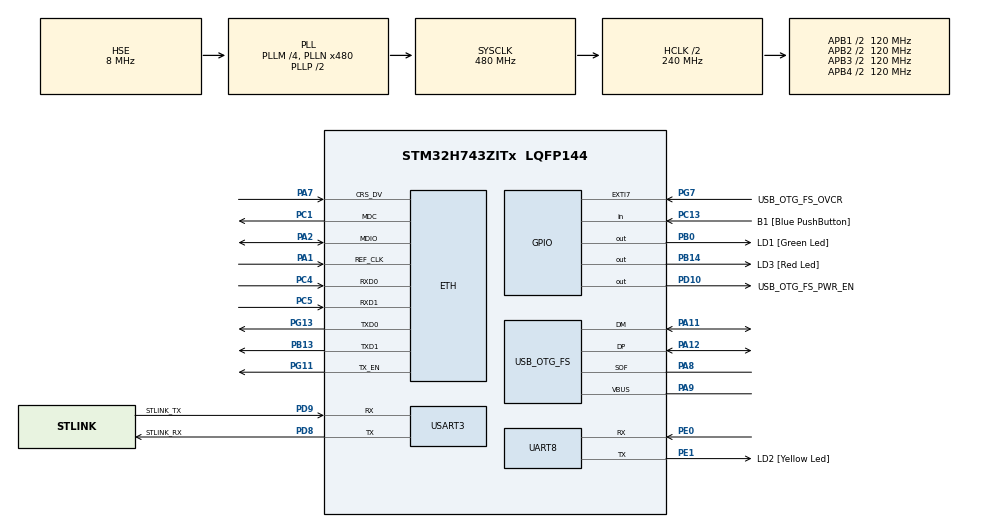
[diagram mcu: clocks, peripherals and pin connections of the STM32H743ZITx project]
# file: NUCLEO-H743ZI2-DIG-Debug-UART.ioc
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CORTEX_M7.CPU_DCache=Enabled
CORTEX_M7.CPU_ICache=Enabled
CORTEX_M7.default_mode_Activation=1
Dma.Request0=USART3_TX
Dma.Request1=UART8_TX
Dma.UART8_TX.1.Direction=DMA_MEMORY_TO_PERIPH
Dma.UART8_TX.1.EventEnable=DISABLE
Dma.UART8_TX.1.FIFOMode=DMA_FIFOMODE_DISABLE
Dma.UART8_TX.1.Instance=DMA1_Stream6
Dma.UART8_TX.1.MemDataAlignment=DMA_MDATAALIGN_BYTE
Dma.UART8_TX.1.MemInc=DMA_MINC_ENABLE
Dma.UART8_TX.1.Mode=DMA_NORMAL
Dma.UART8_TX.1.PeriphDataAlignment=DMA_PDATAALIGN_BYTE
Dma.UART8_TX.1.PeriphInc=DMA_PINC_DISABLE
Dma.UART8_TX.1.Polarity=HAL_DMAMUX_REQ_GEN_RISING
Dma.UART8_TX.1.Priority=DMA_PRIORITY_LOW
Dma.UART8_TX.1.RequestNumber=1
Dma.UART8_TX.1.SignalID=NONE
Dma.UART8_TX.1.SyncEnable=DISABLE
Dma.UART8_TX.1.SyncPolarity=HAL_DMAMUX_SYNC_NO_EVENT
Dma.UART8_TX.1.SyncRequestNumber=1
Dma.UART8_TX.1.SyncSignalID=NONE
Dma.USART3_TX.0.Direction=DMA_MEMORY_TO_PERIPH
Dma.USART3_TX.0.EventEnable=DISABLE
Dma.USART3_TX.0.FIFOMode=DMA_FIFOMODE_DISABLE
Dma.USART3_TX.0.Instance=DMA1_Stream7
Dma.USART3_TX.0.MemDataAlignment=DMA_MDATAALIGN_BYTE
Dma.USART3_TX.0.MemInc=DMA_MINC_ENABLE
Dma.USART3_TX.0.Mode=DMA_NORMAL
Dma.USART3_TX.0.PeriphDataAlignment=DMA_PDATAALIGN_BYTE
Dma.USART3_TX.0.PeriphInc=DMA_PINC_DISABLE
Dma.USART3_TX.0.Polarity=HAL_DMAMUX_REQ_GEN_RISING
Dma.USART3_TX.0.Priority=DMA_PRIORITY_LOW
Dma.USART3_TX.0.RequestNumber=1
Dma.USART3_TX.0.SignalID=NONE
Dma.USART3_TX.0.SyncEnable=DISABLE
Dma.USART3_TX.0.SyncPolarity=HAL_DMAMUX_SYNC_NO_EVENT
Dma.USART3_TX.0.SyncRequestNumber=1
Dma.USART3_TX.0.SyncSignalID=NONE
ETH.MediaInterface=HAL_ETH_RMII_MODE
FREERTOS.Tasks01=defaultTask,24,512,StartDefaultTask,Default,NULL,Dynamic,NULL,NULL
FREERTOS.configMINIMAL_STACK_SIZE=512
FREERTOS.configTOTAL_HEAP_SIZE=32768
FREERTOS.configUSE_NEWLIB_REENTRANT=1
Mcu.Family=STM32H7
Mcu.Name=STM32H743ZITx
Mcu.Package=LQFP144
NVIC.DMA1_Stream6_IRQn=true\:5\:0\:false\:false\:true\:true\:false\:true\:true
NVIC.DMA1_Stream7_IRQn=true\:5\:0\:false\:false\:true\:true\:false\:true\:true
NVIC.PriorityGroup=NVIC_PRIORITYGROUP_4
NVIC.TIM7_IRQn=true\:15\:0\:false\:false\:true\:false\:false\:true\:true
NVIC.TimeBase=TIM7_IRQn
NVIC.TimeBaseIP=TIM7
NVIC.USART3_IRQn=true\:5\:0\:false\:false\:true\:true\:true\:true\:true
PA1.Mode=RMII
PA1.Signal=ETH_REF_CLK
PA11.Mode=Device_Only
PA11.Signal=USB_OTG_FS_DM
PA12.Mode=Device_Only
PA12.Signal=USB_OTG_FS_DP
PA13\ (JTMS/SWDIO).GPIO_Label=JTMS
PA13\ (JTMS/SWDIO).Mode=Serial_Wire
PA13\ (JTMS/SWDIO).Signal=DEBUG_JTMS-SWDIO
PA14\ (JTCK/SWCLK).GPIO_Label=JTCK
PA14\ (JTCK/SWCLK).Mode=Serial_Wire
PA14\ (JTCK/SWCLK).Signal=DEBUG_JTCK-SWCLK
PA2.Mode=RMII
PA2.Signal=ETH_MDIO
PA7.Mode=RMII
PA7.Signal=ETH_CRS_DV
PA8.Mode=Activate_SOF_FS
PA8.Signal=USB_OTG_FS_SOF
PA9.Mode=Activate_VBUS
PA9.Signal=USB_OTG_FS_VBUS
PB0.GPIO_Label=LD1 [Green Led]
PB0.Signal=GPIO_Output
PB13.Mode=RMII
PB13.Signal=ETH_TXD1
PB14.GPIO_Label=LD3 [Red Led]
PB14.Signal=GPIO_Output
PC1.Mode=RMII
PC1.Signal=ETH_MDC
PC13.GPIO_Label=B1 [Blue PushButton]
PC13.Signal=GPIO_Input
PC14-OSC32_IN\ (OSC32_IN).Mode=LSE-External-Oscillator
PC14-OSC32_IN\ (OSC32_IN).Signal=RCC_OSC32_IN
PC15-OSC32_OUT\ (OSC32_OUT).Mode=LSE-External-Oscillator
PC15-OSC32_OUT\ (OSC32_OUT).Signal=RCC_OSC32_OUT
PC4.Mode=RMII
PC4.Signal=ETH_RXD0
PC5.Mode=RMII
PC5.Signal=ETH_RXD1
PD10.GPIO_Label=USB_OTG_FS_PWR_EN
PD10.Signal=GPIO_Output
PD8.GPIO_Label=STLINK_RX
PD8.Mode=Asynchronous
PD8.Signal=USART3_TX
PD9.GPIO_Label=STLINK_TX
PD9.Mode=Asynchronous
PD9.Signal=USART3_RX
PE0.Mode=Asynchronous
PE0.Signal=UART8_RX
PE1.GPIO_Label=LD2 [Yellow Led]
PE1.Signal=SharedStack_PE1
PE1.Stacked=true
PG11.Mode=RMII
PG11.Signal=ETH_TX_EN
PG13.Mode=RMII
PG13.Signal=ETH_TXD0
PG7.GPIO_Label=USB_OTG_FS_OVCR
PG7.Signal=GPXTI7
PH0-OSC_IN\ (PH0).Mode=HSE-External-Clock-Source
PH0-OSC_IN\ (PH0).Signal=RCC_OSC_IN
PH1-OSC_OUT\ (PH1).Signal=RCC_OSC_OUT
ProjectManager.HeapSize=0x200
ProjectManager.StackSize=0x400
ProjectManager.TargetToolchain=STM32CubeIDE
RCC.ADCFreq_Value=240000000
RCC.APB1Freq_Value=120000000
RCC.APB2Freq_Value=120000000
RCC.APB3Freq_Value=120000000
RCC.APB4Freq_Value=120000000
RCC.CortexFreq_Value=480000000
RCC.D1PPRE=RCC_APB3_DIV2
RCC.D2PPRE1=RCC_APB1_DIV2
RCC.D2PPRE2=RCC_APB2_DIV2
RCC.D3PPRE=RCC_APB4_DIV2
RCC.DIVM1=4
RCC.DIVM2=8
RCC.DIVM3=8
RCC.DIVN1=480
RCC.DIVN2=480
RCC.DIVN3=480
RCC.DIVQ1=4
RCC.DIVQ2=5
RCC.DIVQ3=10
RCC.DIVR1=10
RCC.HCLKFreq_Value=240000000
RCC.HPRE=RCC_HCLK_DIV2
RCC.HSE_VALUE=8000000
RCC.PLLSourceVirtual=RCC_PLLSOURCE_HSE
RCC.SYSCLKFreq_VALUE=480000000
RCC.SYSCLKSource=RCC_SYSCLKSOURCE_PLLCLK
RCC.USART234578CLockSelection=RCC_USART234578CLKSOURCE_PLL2
RCC.USBCLockSelection=RCC_USBCLKSOURCE_PLL3
RCC.USBFreq_Value=48000000
SH.SharedStack_PE1.0=GPIO_Output+0
SH.SharedStack_PE1.1=UART8_TX,Asynchronous
USART3.FIFOMode=FIFOMODE_ENABLE
USART3.Parity=PARITY_NONE
USART3.RXFIFOThreshold=RXFIFO_THRESHOLD_FULL
USART3.TXFIFOThreshold=TXFIFO_THRESHOLD_EMPTY
USART3.VirtualMode-Asynchronous=VM_ASYNC
USB_OTG_FS.VirtualMode=Device_Only
VP_FREERTOS_VS_CMSIS_V2.Mode=CMSIS_V2
VP_SYS_VS_tim7.Mode=TIM7
board=NUCLEO-H743ZI2

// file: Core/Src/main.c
/* USER CODE BEGIN Header */
/**
 ******************************************************************************
 * @file           : main.c
 * @brief          : Main program body
 ******************************************************************************
 * @attention
 *
 * Copyright (c) 2024 STMicroelectronics.
 * All rights reserved.
 *
 * This software is licensed under terms that can be found in the LICENSE file
 * in the root directory of this software component.
 * If no LICENSE file comes with this software, it is provided AS-IS.
 *
 ******************************************************************************
 */
/* USER CODE END Header */
#include "main.h"
#include "cmsis_os.h"
#include "dma.h"
#include "usart.h"
#include "gpio.h"

/* USER CODE BEGIN Includes */
#include "debug-uart.h"
/* USER CODE END Includes */

void SystemClock_Config(void);
void PeriphCommonClock_Config(void);
static void MPU_Config(void);
void MX_FREERTOS_Init(void);

int main(void)
{

	/* MPU Configuration--------------------------------------------------------*/
	MPU_Config();

	/* Enable the CPU Cache */

	/* Enable I-Cache---------------------------------------------------------*/
	SCB_EnableICache();

	/* Enable D-Cache---------------------------------------------------------*/
	SCB_EnableDCache();

	/* MCU Configuration--------------------------------------------------------*/

	/* Reset of all peripherals, Initializes the Flash interface and the Systick. */
	HAL_Init();

	/* Configure the system clock */
	SystemClock_Config();

/* Configure the peripherals common clocks */
	PeriphCommonClock_Config();

	/* Initialize all configured peripherals */
	MX_GPIO_Init();
	MX_DMA_Init();
	MX_USART3_UART_Init();
	MX_UART8_Init();

	/* Init scheduler */
	osKernelInitialize();

	/* Call init function for freertos objects (in cmsis_os2.c) */
	MX_FREERTOS_Init();

	/* Start scheduler */
	osKernelStart();

	/* We should never get here as control is now taken by the scheduler */

	/* Infinite loop */
	while (1)
	{

	}
}

void SystemClock_Config(void)
{
	RCC_OscInitTypeDef RCC_OscInitStruct = {0};
	RCC_ClkInitTypeDef RCC_ClkInitStruct = {0};

	/** Supply configuration update enable
	 */
	HAL_PWREx_ConfigSupply(PWR_LDO_SUPPLY);

	/** Configure the main internal regulator output voltage
	 */
	__HAL_PWR_VOLTAGESCALING_CONFIG(PWR_REGULATOR_VOLTAGE_SCALE1);

	while(!__HAL_PWR_GET_FLAG(PWR_FLAG_VOSRDY)) {}

	__HAL_RCC_SYSCFG_CLK_ENABLE();
	__HAL_PWR_VOLTAGESCALING_CONFIG(PWR_REGULATOR_VOLTAGE_SCALE0);

	while(!__HAL_PWR_GET_FLAG(PWR_FLAG_VOSRDY)) {}

	/** Initializes the RCC Oscillators according to the specified parameters
	 * in the RCC_OscInitTypeDef structure.
	 */
	RCC_OscInitStruct.OscillatorType = RCC_OSCILLATORTYPE_HSE;
	RCC_OscInitStruct.HSEState = RCC_HSE_BYPASS;
	RCC_OscInitStruct.PLL.PLLState = RCC_PLL_ON;
	RCC_OscInitStruct.PLL.PLLSource = RCC_PLLSOURCE_HSE;
	RCC_OscInitStruct.PLL.PLLM = 4;
	RCC_OscInitStruct.PLL.PLLN = 480;
	RCC_OscInitStruct.PLL.PLLP = 2;
	RCC_OscInitStruct.PLL.PLLQ = 4;
	RCC_OscInitStruct.PLL.PLLR = 10;
	RCC_OscInitStruct.PLL.PLLRGE = RCC_PLL1VCIRANGE_1;
	RCC_OscInitStruct.PLL.PLLVCOSEL = RCC_PLL1VCOWIDE;
	RCC_OscInitStruct.PLL.PLLFRACN = 0;
	if (HAL_RCC_OscConfig(&RCC_OscInitStruct) != HAL_OK)
	{
		Error_Handler();
	}

	/** Initializes the CPU, AHB and APB buses clocks
	 */
	RCC_ClkInitStruct.ClockType = RCC_CLOCKTYPE_HCLK|RCC_CLOCKTYPE_SYSCLK
	                              |RCC_CLOCKTYPE_PCLK1|RCC_CLOCKTYPE_PCLK2
	                              |RCC_CLOCKTYPE_D3PCLK1|RCC_CLOCKTYPE_D1PCLK1;
	RCC_ClkInitStruct.SYSCLKSource = RCC_SYSCLKSOURCE_PLLCLK;
	RCC_ClkInitStruct.SYSCLKDivider = RCC_SYSCLK_DIV1;
	RCC_ClkInitStruct.AHBCLKDivider = RCC_HCLK_DIV2;
	RCC_ClkInitStruct.APB3CLKDivider = RCC_APB3_DIV2;
	RCC_ClkInitStruct.APB1CLKDivider = RCC_APB1_DIV2;
	RCC_ClkInitStruct.APB2CLKDivider = RCC_APB2_DIV2;
	RCC_ClkInitStruct.APB4CLKDivider = RCC_APB4_DIV2;

	if (HAL_RCC_ClockConfig(&RCC_ClkInitStruct, FLASH_LATENCY_4) != HAL_OK)
	{
		Error_Handler();
	}
}

void PeriphCommonClock_Config(void)
{
	RCC_PeriphCLKInitTypeDef PeriphClkInitStruct = {0};

	/** Initializes the peripherals clock
	 */
	PeriphClkInitStruct.PeriphClockSelection = RCC_PERIPHCLK_UART8|RCC_PERIPHCLK_USART3;
	PeriphClkInitStruct.PLL2.PLL2M = 8;
	PeriphClkInitStruct.PLL2.PLL2N = 480;
	PeriphClkInitStruct.PLL2.PLL2P = 2;
	PeriphClkInitStruct.PLL2.PLL2Q = 5;
	PeriphClkInitStruct.PLL2.PLL2R = 2;
	PeriphClkInitStruct.PLL2.PLL2RGE = RCC_PLL2VCIRANGE_0;
	PeriphClkInitStruct.PLL2.PLL2VCOSEL = RCC_PLL2VCOWIDE;
	PeriphClkInitStruct.PLL2.PLL2FRACN = 0;
	PeriphClkInitStruct.Usart234578ClockSelection = RCC_USART234578CLKSOURCE_PLL2;
	if (HAL_RCCEx_PeriphCLKConfig(&PeriphClkInitStruct) != HAL_OK)
	{
		Error_Handler();
	}
}

/* MPU Configuration */

void MPU_Config(void)
{
	MPU_Region_InitTypeDef MPU_InitStruct = {0};

	/* Disables the MPU */
	HAL_MPU_Disable();

	/** Initializes and configures the Region and the memory to be protected
	 */
	MPU_InitStruct.Enable = MPU_REGION_ENABLE;
	MPU_InitStruct.Number = MPU_REGION_NUMBER0;
	MPU_InitStruct.BaseAddress = 0x0;
	MPU_InitStruct.Size = MPU_REGION_SIZE_4GB;
	MPU_InitStruct.SubRegionDisable = 0x87;
	MPU_InitStruct.TypeExtField = MPU_TEX_LEVEL0;
	MPU_InitStruct.AccessPermission = MPU_REGION_NO_ACCESS;
	MPU_InitStruct.DisableExec = MPU_INSTRUCTION_ACCESS_DISABLE;
	MPU_InitStruct.IsShareable = MPU_ACCESS_SHAREABLE;
	MPU_InitStruct.IsCacheable = MPU_ACCESS_NOT_CACHEABLE;
	MPU_InitStruct.IsBufferable = MPU_ACCESS_NOT_BUFFERABLE;

	HAL_MPU_ConfigRegion(&MPU_InitStruct);
	/* Enables the MPU */
	HAL_MPU_Enable(MPU_PRIVILEGED_DEFAULT);

}

void HAL_TIM_PeriodElapsedCallback(TIM_HandleTypeDef *htim)
{
	if (htim->Instance == TIM7) {
		HAL_IncTick();
	}
}

void Error_Handler(void)
{
	/* USER CODE BEGIN Error_Handler_Debug */
	/* User can add his own implementation to report the HAL error return state */
	__disable_irq();
	while (1) {
		CRITICAL("...");
	}
	/* USER CODE END Error_Handler_Debug */
}

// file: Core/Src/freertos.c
/* USER CODE BEGIN Header */
//#define _DEBUG_GROUP _DEBUG_GROUP_DEFAULT
/**
 ******************************************************************************
 * File Name          : freertos.c
 * Description        : Code for freertos applications
 ******************************************************************************
 * @attention
 *
 * Copyright (c) 2024 STMicroelectronics.
 * All rights reserved.
 *
 * This software is licensed under terms that can be found in the LICENSE file
 * in the root directory of this software component.
 * If no LICENSE file comes with this software, it is provided AS-IS.
 *
 ******************************************************************************
 */
/* USER CODE END Header */

#include "FreeRTOS.h"
#include "task.h"
#include "main.h"
#include "cmsis_os.h"

/* USER CODE BEGIN Includes */
#include <cmsis_os2.h>
#include <stdio.h>
#include <debug-uart.h>
/* USER CODE END Includes */

/* Definitions for defaultTask */
osThreadId_t defaultTaskHandle;
const osThreadAttr_t defaultTask_attributes = {
	.name = "defaultTask",
	.stack_size = 512 * 4,
	.priority = (osPriority_t) osPriorityNormal,
};

/* USER CODE BEGIN FunctionPrototypes */
osThreadId_t Task1Handle;
const osThreadAttr_t Task1_attributes = {
	.name = "Task1",
	.stack_size = 256 * 4,
	.priority = (osPriority_t) osPriorityNormal,
};

osThreadId_t Task2Handle;
const osThreadAttr_t Task2_attributes = {
	.name = "Task2",
	.stack_size = 256 * 4,
	.priority = (osPriority_t) osPriorityNormal,
};

void Task1(void *argument);
void Task2(void *argument);
/* USER CODE END FunctionPrototypes */

void StartDefaultTask(void *argument);

void MX_FREERTOS_Init(void); /* (MISRA C 2004 rule 8.1) */

void MX_FREERTOS_Init(void) {

	/* Create the thread(s) */
	/* creation of defaultTask */
	defaultTaskHandle = osThreadNew(StartDefaultTask, NULL, &defaultTask_attributes);

	/* USER CODE BEGIN RTOS_THREADS */
	/* add threads, ... */
	osThreadNew(Task1, NULL, &Task1_attributes);
	osThreadNew(Task2, NULL, &Task2_attributes);
	/* USER CODE END RTOS_THREADS */

}

void StartDefaultTask(void *argument)
{
	for(;;)
	{
		osDelay(1);
	}
}

/* USER CODE BEGIN Application */
void Task1(void *argument)
{
	int count = 0;
	while(1) {
		TRACE("1: %lu %d AAA\r\n", osKernelGetTickCount(), count++);
		//printf("1: %lu %d AAA\r\n", osKernelGetTickCount(), count++);
	}
}

void Task2(void *argument)
{
	int count = 0;
	while(1) {
		printf("2: %lu %d BBB\r\n", osKernelGetTickCount(), count++);
	}
}
/* USER CODE END Application */
